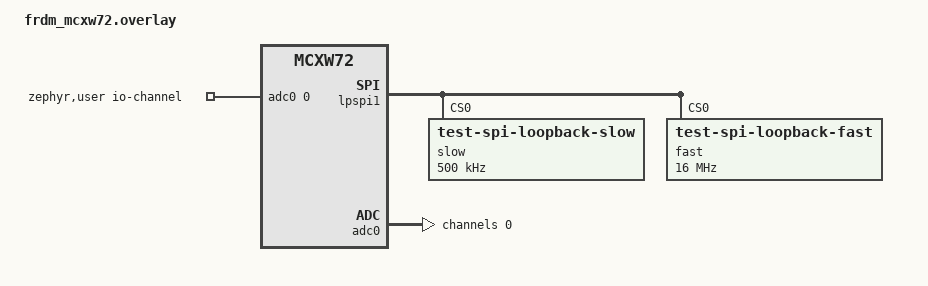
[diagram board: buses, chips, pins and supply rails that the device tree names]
/*
 * Copyright 2025 NXP
 *
 * SPDX-License-Identifier: Apache-2.0
 */

tst_dma0: &edma {};

&lpspi1 {
	slow@0 {
		compatible = "test-spi-loopback-slow";
		reg = <0>;
		spi-max-frequency = <500000>;
	};
	fast@0 {
		compatible = "test-spi-loopback-fast";
		reg = <0>;
		spi-max-frequency = <16000000>;
	};
};

#include <zephyr/dt-bindings/adc/adc.h>

#include <zephyr/dt-bindings/adc/mcux-lpadc.h>

/ {
	zephyr,user {
		io-channels = <&adc0 0>;
	};
};

&adc0 {
	#address-cells = <1>;
	#size-cells = <0>;
	channel@0 {
		reg = <0>;
		zephyr,gain = "ADC_GAIN_1";
		zephyr,reference = "ADC_REF_EXTERNAL1";
		zephyr,acquisition-time = <ADC_ACQ_TIME_DEFAULT>;
		zephyr,resolution = <12>;
		zephyr,vref-mv = <1800>;
		zephyr,input-positive = <MCUX_LPADC_CH2A>;
	};
};
